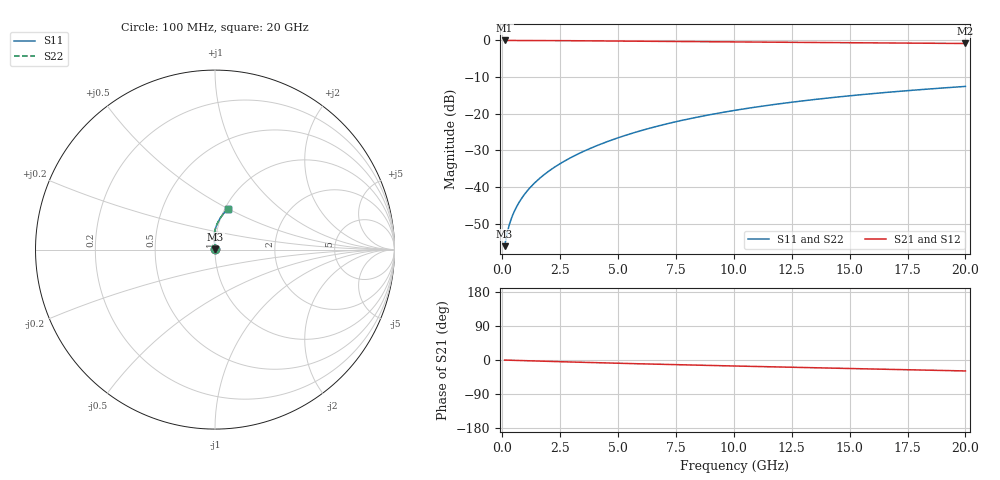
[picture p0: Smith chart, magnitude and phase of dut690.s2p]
! Touchstone file exported from HFSS 2024.1.0
!  File:  C:/UserFiles/LocalFiles/RDL_TSV_Batchsim/temp_RDL_top_690_1779782787.aedt
!  Generated:  04:08:41 PM May 26, 2026
!  Design:  RDL_top
!  Project:  temp_RDL_top_690_1779782787
!  Setup:  Setup1
!  Solution:  Sweep
! Variables:
!  dtsv = 10.80580581um
!  hbump = 3um
!  htsv = 62.13um
!  ldown = 100um
!  lrdl = 431.06um
!  p = 40
!  p1 = 53.06um
!  rhole = 1um
!  t = 450um
!  tdown = 3.915915916um
!  trdl = 4.93um
!  wdown = 15.38538539um
!  wrdl = 29.85um
# GHz S MA R 50.000000
! Terminal data exported
! Port[1] = Box2_T1
! Port[2] = Box2_T2
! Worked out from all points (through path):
!   200 points, 100 MHz to 20 GHz, reference 50 ohm
!   highest |S21| = -0.01 dB at 100 MHz (marker M1); lowest = -0.8 dB at 20 GHz (marker M2)
!   group delay of S21, straight-line fit = 3.93 ps
!   lowest |S11| = -56.1 dB at 100 MHz (marker M3), VSWR 1.00, Z = 50.1 + j0.0957 ohm
!   |S11| at or under -10 dB: start of sweep to end of sweep
!   |S22| runs from -56.1 to -12.5 dB; largest |S21 - S12| = 3.2e-15
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0.1  0.001571 37.4  0.9987 -0.2  0.9987 -0.2  0.001571 37.4
! Gamma 0 0 0 0
! Port Impedance 50 0 50 0
0.2  0.002288 54.3  0.9986 -0.4  0.9986 -0.4  0.002289 54.3
0.3  0.003054 62.1  0.9984 -0.6  0.9984 -0.6  0.003055 62.1
0.4  0.003807 66.8  0.9983 -0.7  0.9983 -0.7  0.003807 66.8
0.5  0.004547 70.3  0.9982 -0.9  0.9982 -0.9  0.004548 70.3
0.6  0.005285 73.0  0.998 -1.1  0.998 -1.1  0.005286 73.0
0.8  0.006775 77.3  0.9977 -1.5  0.9977 -1.5  0.006776 77.2
1.1  0.009073 81.7  0.9972 -2.0  0.9972 -2.0  0.009074 81.7
1.6  0.01309 86.5  0.9959 -2.9  0.9959 -2.9  0.01309 86.5
2.1  0.01735 89.6  0.9944 -3.8  0.9944 -3.8  0.01735 89.6
2.7  0.0228 92.1  0.992 -4.8  0.992 -4.8  0.0228 92.1
3.5  0.03066 94.1  0.9883 -6.2  0.9883 -6.2  0.03066 94.1
4.2  0.03808 95.1  0.9848 -7.3  0.9848 -7.3  0.03807 95.0
5  0.0471 95.4  0.9804 -8.6  0.9804 -8.6  0.04709 95.4
5.9  0.05784 95.1  0.9754 -10.0  0.9754 -10.0  0.05782 95.1
6.8  0.06906 94.3  0.9705 -11.3  0.9705 -11.3  0.06904 94.3
8.4  0.08976 92.2  0.9618 -13.6  0.9618 -13.6  0.08973 92.2
10.1  0.1122 89.4  0.9532 -16.0  0.9532 -16.0  0.1122 89.4
11.7  0.1334 86.6  0.9454 -18.1  0.9454 -18.1  0.1333 86.6
13.4  0.1555 83.6  0.9376 -20.4  0.9376 -20.4  0.1555 83.6
16.7  0.1971 77.9  0.9228 -24.7  0.9228 -24.7  0.197 77.8
20  0.2361 72.5  0.9083 -28.9  0.9083 -28.9  0.236 72.4
